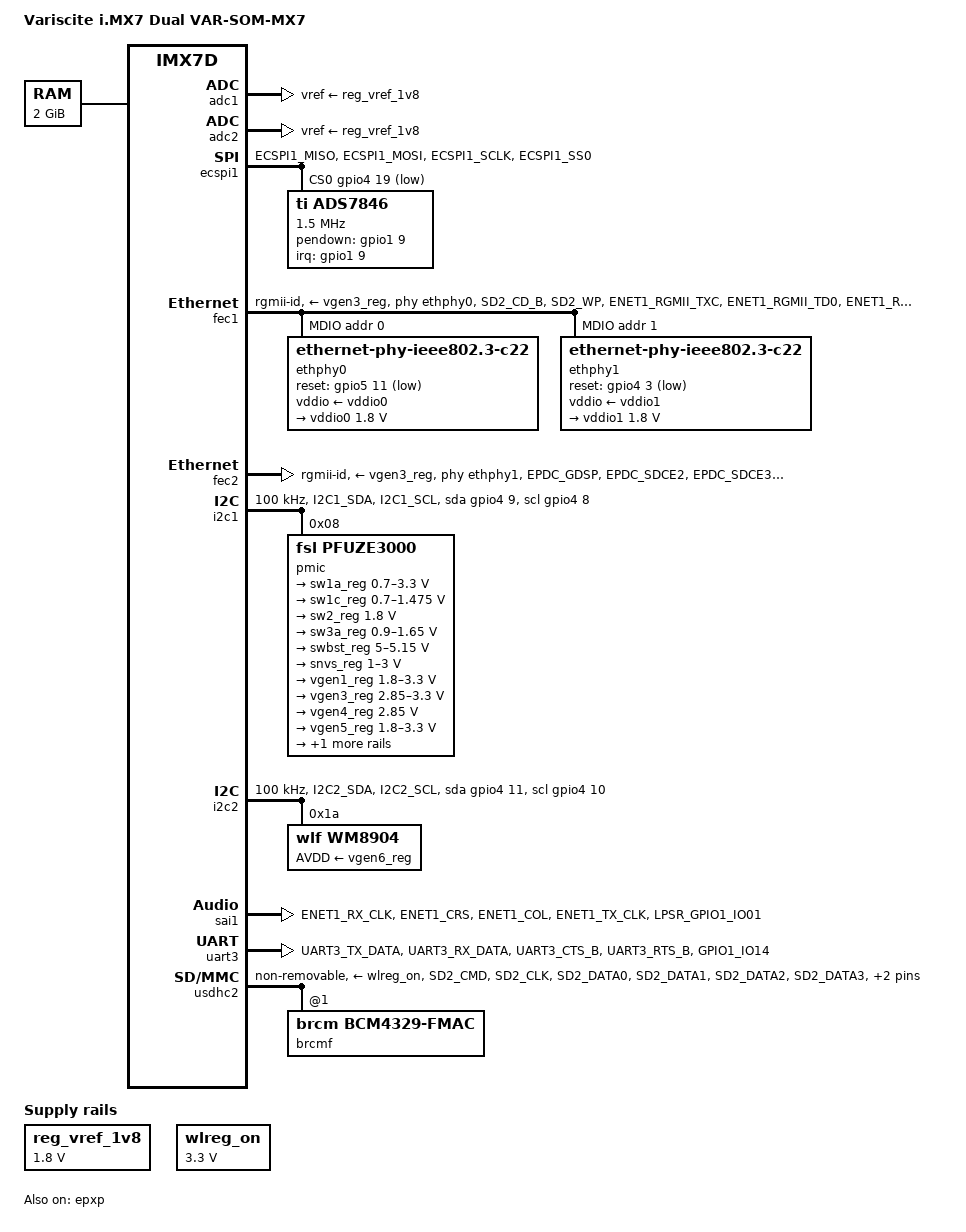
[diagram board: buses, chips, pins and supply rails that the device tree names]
// SPDX-License-Identifier: GPL-2.0+ OR MIT
//
// Copyright (C) 2016-2024 Variscite Ltd.

#include <dt-bindings/input/input.h>
#include "imx7d.dtsi"

/ {
	model = "Variscite i.MX7 Dual VAR-SOM-MX7";
	compatible = "variscite,imx7-var-som", "fsl,imx7d";

	memory@80000000 {
		device_type = "memory";
		reg = <0x80000000 0x80000000>;
	};

	pxp_v4l2_out {
		compatible = "fsl,imx7d-pxp-v4l2", "fsl,imx6sx-pxp-v4l2", "fsl,imx6sl-pxp-v4l2";
		status = "okay";
	};

	sound {
		compatible = "simple-audio-card";
		simple-audio-card,name = "wm8904-audio";
		simple-audio-card,widgets =
			"Microphone", "Microphone Jack",
			"Headphone", "Headphone Jack",
			"Line", "Line In Jack";
		simple-audio-card,routing =
			"Headphone Jack", "HPOUTL",
			"Headphone Jack", "HPOUTR",
			"IN2L", "Line In Jack",
			"IN2R", "Line In Jack",
			"IN1L", "Microphone Jack",
			"IN1R", "Microphone Jack";
		simple-audio-card,mclk-fs = <256>;
		simple-audio-card,format = "i2s";
		simple-audio-card,bitclock-master = <&dailink_master>;
		simple-audio-card,frame-master = <&dailink_master>;
		assigned-clocks = <&clks IMX7D_AUDIO_MCLK_ROOT_SRC>,
				  <&clks IMX7D_AUDIO_MCLK_ROOT_DIV>;
		assigned-clock-parents = <&clks IMX7D_PLL_AUDIO_POST_DIV>;
		assigned-clock-rates = <0>, <12288000>;

		dailink_master: simple-audio-card,codec {
			sound-dai = <&wm8904>;
			system-clock-frequency = <12288000>;
		};

		simple-audio-card,cpu {
			sound-dai = <&sai1>;
		};
	};

	reg_vref_1v8: reg-vref-1v8 {
		compatible = "regulator-fixed";
		regulator-name = "vref-1v8";
		regulator-min-microvolt = <1800000>;
		regulator-max-microvolt = <1800000>;
	};

	wlreg_on: wlreg-on {
		compatible = "regulator-fixed";
		regulator-min-microvolt = <3300000>;
		regulator-max-microvolt = <3300000>;
		regulator-name = "wlreg_on";
	};
};

&adc1 {
	vref-supply = <&reg_vref_1v8>;
	status = "okay";
};

&adc2 {
	vref-supply = <&reg_vref_1v8>;
	status = "okay";
};

&cpu0 {
	cpu-supply = <&sw1a_reg>;
};

&cpu1 {
	cpu-supply = <&sw1a_reg>;
};

&clks {
	assigned-clocks = <&clks IMX7D_PLL_AUDIO_POST_DIV>;
	assigned-clock-rates = <884736000>;
};

&ecspi1 {
	fsl,spi-num-chipselects = <1>;
	pinctrl-names = "default", "sleep";
	pinctrl-0 = <&pinctrl_ecspi1>;
	pinctrl-1 = <&pinctrl_ecspi1_sleep>;
	cs-gpios = <&gpio4 19 GPIO_ACTIVE_LOW>;
	status = "okay";

	/* Touch */
	ads7846@0 {
		reg = <0>;
		compatible = "ti,ads7846";
		pinctrl-names ="default";
		pinctrl-0 = <&pinctrl_ads7846_pendown>;
		interrupt-parent = <&gpio1>;
		interrupts = <9 0>;
		spi-max-frequency = <1500000>;
		pendown-gpio = <&gpio1 9 0>;
		ti,x-min = /bits/ 16 <125>;
		ti,x-max = /bits/ 16 <4008>;
		ti,y-min = /bits/ 16 <282>;
		ti,y-max = /bits/ 16 <3864>;
		ti,x-plate-ohms = /bits/ 16 <180>;
		ti,pressure-max = /bits/ 16 <255>;
		ti,debounce-max = /bits/ 16 <10>;
		ti,debounce-tol = /bits/ 16 <3>;
		ti,debounce-rep = /bits/ 16 <1>;
		ti,settle-delay-usec = /bits/ 16 <150>;
		ti,keep-vref-on;
	};
};

&epxp {
	status = "okay";
};

&fec1 {
	pinctrl-names = "default","sleep";
	pinctrl-0 = <&pinctrl_enet1>, <&pinctrl_enet1_rst>, <&pinctrl_enet2_rst>;
	pinctrl-1 = <&pinctrl_enet1_sleep>, <&pinctrl_enet1_rst_sleep>, <&pinctrl_enet2_rst_sleep>;
	phy-supply=<&vgen3_reg>;
	assigned-clocks = <&clks IMX7D_ENET_PHY_REF_ROOT_SRC>,
			  <&clks IMX7D_ENET_AXI_ROOT_SRC>,
			  <&clks IMX7D_ENET1_TIME_ROOT_SRC>,
			  <&clks IMX7D_ENET1_TIME_ROOT_CLK>,
			  <&clks IMX7D_ENET_AXI_ROOT_CLK>;
	assigned-clock-parents = <&clks IMX7D_PLL_ENET_MAIN_25M_CLK>,
				 <&clks IMX7D_PLL_ENET_MAIN_250M_CLK>,
				 <&clks IMX7D_PLL_ENET_MAIN_100M_CLK>;
	assigned-clock-rates = <0>, <0>, <0>, <100000000>, <250000000>;
	phy-mode = "rgmii-id";
	phy-handle = <&ethphy0>;
	status = "okay";

	mdio {
		#address-cells = <1>;
		#size-cells = <0>;

		ethphy0: ethernet-phy@0 {
			compatible = "ethernet-phy-ieee802.3-c22";
			adi,phy-mode-override = "rgmii-rxid";
			reg = <0>;
			vddio-supply = <&vddio0>;
			reset-gpios = <&gpio5 11 GPIO_ACTIVE_LOW>;
			reset-assert-us = <20000>;
			reset-deassert-us = <80000>;

			vddio0: vddio-regulator {
				regulator-min-microvolt = <1800000>;
				regulator-max-microvolt = <1800000>;
			};
		};

		ethphy1: ethernet-phy@1 {
			compatible = "ethernet-phy-ieee802.3-c22";
			adi,phy-mode-override = "rgmii-rxid";
			reg = <1>;
			vddio-supply = <&vddio1>;
			reset-gpios = <&gpio4 3 GPIO_ACTIVE_LOW>;
			reset-assert-us = <20000>;
			reset-deassert-us = <80000>;

			vddio1: vddio-regulator {
				regulator-min-microvolt = <1800000>;
				regulator-max-microvolt = <1800000>;
			};
		};
	};
};

&fec2 {
	pinctrl-names = "default","sleep";
	pinctrl-0 = <&pinctrl_enet2>;
	pinctrl-1 = <&pinctrl_enet2_sleep>;
	phy-supply=<&vgen3_reg>;
	assigned-clocks = <&clks IMX7D_ENET_PHY_REF_ROOT_SRC>,
			  <&clks IMX7D_ENET_AXI_ROOT_SRC>,
			  <&clks IMX7D_ENET2_TIME_ROOT_SRC>,
			  <&clks IMX7D_ENET2_TIME_ROOT_CLK>,
			  <&clks IMX7D_ENET_AXI_ROOT_CLK>;
	assigned-clock-parents = <&clks IMX7D_PLL_ENET_MAIN_25M_CLK>,
				 <&clks IMX7D_PLL_ENET_MAIN_250M_CLK>,
				 <&clks IMX7D_PLL_ENET_MAIN_100M_CLK>;
	assigned-clock-rates = <0>, <0>, <0>, <100000000>, <250000000>;
	phy-mode = "rgmii-id";
	phy-handle = <&ethphy1>;
	status = "okay";
};

&i2c1 {
	clock-frequency = <100000>;
	pinctrl-names = "default", "gpio";
	pinctrl-0 = <&pinctrl_i2c1>;
	pinctrl-1 = <&pinctrl_i2c1_gpio>;
	scl-gpios = <&gpio4 8 GPIO_ACTIVE_HIGH>;
	sda-gpios = <&gpio4 9 GPIO_ACTIVE_HIGH>;
	status = "okay";

	pmic: pfuze3000@8 {
		compatible = "fsl,pfuze3000";
		reg = <0x08>;

		regulators {
			sw1a_reg: sw1a {
				regulator-min-microvolt = <700000>;
				regulator-max-microvolt = <3300000>;
				regulator-boot-on;
				regulator-always-on;
				regulator-ramp-delay = <6250>;
			};

			/* use sw1c_reg to align with pfuze100/pfuze200 */
			sw1c_reg: sw1b {
				regulator-min-microvolt = <700000>;
				regulator-max-microvolt = <1475000>;
				regulator-boot-on;
				regulator-always-on;
				regulator-ramp-delay = <6250>;
			};

			sw2_reg: sw2 {
				regulator-min-microvolt = <1800000>;
				regulator-max-microvolt = <1800000>;
				regulator-boot-on;
				regulator-always-on;
			};

			sw3a_reg: sw3 {
				regulator-min-microvolt = <900000>;
				regulator-max-microvolt = <1650000>;
				regulator-boot-on;
				regulator-always-on;
			};

			swbst_reg: swbst {
				regulator-min-microvolt = <5000000>;
				regulator-max-microvolt = <5150000>;
			};

			snvs_reg: vsnvs {
				regulator-min-microvolt = <1000000>;
				regulator-max-microvolt = <3000000>;
				regulator-boot-on;
				regulator-always-on;
			};

			vref_reg: vrefddr {
				regulator-boot-on;
				regulator-always-on;
			};

			vgen1_reg: vldo1 {
				regulator-min-microvolt = <1800000>;
				regulator-max-microvolt = <3300000>;
				regulator-always-on;
			};

			vgen2_reg: vldo2 {
				status = "disabled";
			};

			vgen3_reg: vccsd {
				regulator-min-microvolt = <2850000>;
				regulator-max-microvolt = <3300000>;
				regulator-boot-on;

				regulator-state-mem {
					regulator-off-in-suspend;
				};
			};

			vgen4_reg: v33 {
				regulator-min-microvolt = <2850000>;
				regulator-max-microvolt = <2850000>;
				regulator-always-on;
			};

			vgen5_reg: vldo3 {
				regulator-min-microvolt = <1800000>;
				regulator-max-microvolt = <3300000>;
				regulator-always-on;
			};

			vgen6_reg: vldo4 {
				regulator-min-microvolt = <1800000>;
				regulator-max-microvolt = <3300000>;
				regulator-always-on;
			};
		};
	};
};

&i2c2 {
	clock-frequency = <100000>;
	pinctrl-names = "default", "gpio";
	pinctrl-0 = <&pinctrl_i2c2>;
	pinctrl-1 = <&pinctrl_i2c2_gpio>;
	scl-gpios = <&gpio4 10 GPIO_ACTIVE_HIGH>;
	sda-gpios = <&gpio4 11 GPIO_ACTIVE_HIGH>;
	status = "okay";

	wm8904: audio-codec@1a {
		#sound-dai-cells = <0>;
		AVDD-supply = <&vgen6_reg>;
		compatible = "wlf,wm8904";
		reg = <0x1a>;
		clocks = <&clks IMX7D_AUDIO_MCLK_ROOT_DIV>;
		clock-names = "mclk";
		num-drc-cfgs = <5>;
		drc-cfg-names = "default", "peaklimiter", "tradition", "soft", "music";
		drc-cfg-regs =
				/* coded default: KNEE_IP = KNEE_OP = 0, HI_COMP = LO_COMP = 1  */
				<0x01af 0x3248 0x0000 0x0000>,
				/* coded default: KNEE_IP = -24, KNEE_OP = -6, HI_COMP = 1/4, LO_COMP = 1 */
				<0x04af 0x324b 0x0010 0x0408>,
				/* coded default: KNEE_IP = -42, KNEE_OP = -3, HI_COMP = 0, LO_COMP = 1 */
				<0x04af 0x324b 0x0028 0x0704>,
				/* coded default: KNEE_IP = -45, KNEE_OP = -9, HI_COMP = 1/8, LO_COMP = 1 */
				<0x04af 0x324b 0x0018 0x078c>,
				/* coded default: KNEE_IP = -30, KNEE_OP = -10.5, HI_COMP = 1/4, LO_COMP = 1 */
				<0x04af 0x324b 0x0010 0x050e>;
		gpio-cfg = <
			0x0018 /* GPIO1 => DMIC_CLK */
			0xffff /* GPIO2 => don't touch */
			0xffff /* GPIO3 => don't touch */
			0xffff /* GPIO4 => don't touch */
		>;
		status = "okay";
	};
};

&reg_1p0d {
	vin-supply = <&sw2_reg>;
};

&reg_1p2 {
	vin-supply = <&sw2_reg>;
};

&sai1 {
	pinctrl-names = "default", "sleep";
	pinctrl-0 = <&pinctrl_sai1 &pinctrl_sai1_mclk>;
	pinctrl-1 = <&pinctrl_sai1_sleep &pinctrl_sai1_mclk_sleep>;
	assigned-clocks = <&clks IMX7D_SAI1_ROOT_SRC>,
			  <&clks IMX7D_SAI1_ROOT_CLK>;
	assigned-clock-parents = <&clks IMX7D_PLL_AUDIO_POST_DIV>;
	assigned-clock-rates = <0>, <12288000>;
	fsl,sai-mclk-direction-output;
	status = "okay";
};

&sdma {
	status = "okay";
};

/* BT */
&uart3 {
	pinctrl-names = "default";
	pinctrl-0 = <&pinctrl_uart3>, <&pinctrl_bt>;
	assigned-clocks = <&clks IMX7D_UART3_ROOT_SRC>;
	assigned-clock-parents = <&clks IMX7D_PLL_SYS_MAIN_240M_CLK>;
	uart-has-rtscts;
	status = "okay";
};

/* WiFi */
&usdhc2 {
	#address-cells = <1>;
	#size-cells = <0>;
	pinctrl-names = "default", "state_100mhz", "state_200mhz","sleep";
	pinctrl-0 = <&pinctrl_usdhc2>, <&pinctrl_wlan>;
	pinctrl-1 = <&pinctrl_usdhc2_100mhz>, <&pinctrl_wlan>;
	pinctrl-2 = <&pinctrl_usdhc2_200mhz>, <&pinctrl_wlan>;
	pinctrl-3 = <&pinctrl_usdhc2_sleep>, <&pinctrl_wlan_sleep>;
	keep-power-in-suspend;
	non-removable;
	pm-ignore-notify;
	vmmc-supply = <&wlreg_on>;
	status = "okay";

	brcmf: bcrmf@1 {
		reg = <1>;
		compatible = "brcm,bcm4329-fmac";
	};
};

&iomuxc {
	pinctrl_bt: btgrp {
		fsl,pins = <
			MX7D_PAD_GPIO1_IO14__GPIO1_IO14		0x80000000  /* bt reg on */
		>;
	};

	pinctrl_ecspi1: ecspi1grp {
		fsl,pins = <
			MX7D_PAD_ECSPI1_MISO__ECSPI1_MISO	0x2
			MX7D_PAD_ECSPI1_MOSI__ECSPI1_MOSI	0x2
			MX7D_PAD_ECSPI1_SCLK__ECSPI1_SCLK	0x2
			MX7D_PAD_ECSPI1_SS0__GPIO4_IO19		0x2
		>;
	};

	pinctrl_ecspi1_sleep: ecspi1grp_sleep {
		fsl,pins = <
			MX7D_PAD_ECSPI1_MISO__GPIO4_IO18	0x10
			MX7D_PAD_ECSPI1_MOSI__GPIO4_IO17	0x10
			MX7D_PAD_ECSPI1_SCLK__GPIO4_IO16	0x10
			MX7D_PAD_ECSPI1_SS0__DISABLED		0x10
		>;
	};

	pinctrl_enet1: enet1grp {
		fsl,pins = <
			MX7D_PAD_SD2_CD_B__ENET1_MDIO			0x3
			MX7D_PAD_SD2_WP__ENET1_MDC			0x3
			MX7D_PAD_ENET1_RGMII_TXC__ENET1_RGMII_TXC	0x1
			MX7D_PAD_ENET1_RGMII_TD0__ENET1_RGMII_TD0	0x1
			MX7D_PAD_ENET1_RGMII_TD1__ENET1_RGMII_TD1	0x1
			MX7D_PAD_ENET1_RGMII_TD2__ENET1_RGMII_TD2	0x1
			MX7D_PAD_ENET1_RGMII_TD3__ENET1_RGMII_TD3	0x1
			MX7D_PAD_ENET1_RGMII_TX_CTL__ENET1_RGMII_TX_CTL	0x1
			MX7D_PAD_ENET1_RGMII_RXC__ENET1_RGMII_RXC	0x1
			MX7D_PAD_ENET1_RGMII_RD0__ENET1_RGMII_RD0	0x1
			MX7D_PAD_ENET1_RGMII_RD1__ENET1_RGMII_RD1	0x1
			MX7D_PAD_ENET1_RGMII_RD2__ENET1_RGMII_RD2	0x1
			MX7D_PAD_ENET1_RGMII_RD3__ENET1_RGMII_RD3	0x1
			MX7D_PAD_ENET1_RGMII_RX_CTL__ENET1_RGMII_RX_CTL	0x1
		>;
	};

	pinctrl_enet1_rst: enet1rstgrp {
		fsl,pins = <
			MX7D_PAD_SD2_RESET_B__GPIO5_IO11		0x59  /* ethphy0 reset */
		>;
	};

	pinctrl_enet1_sleep: enet1_sleep_grp {
		fsl,pins = <
			MX7D_PAD_SD2_CD_B__GPIO5_IO9			0x10
			MX7D_PAD_SD2_WP__GPIO5_IO10			0x10
			MX7D_PAD_ENET1_RGMII_TXC__GPIO7_IO11		0x10
			MX7D_PAD_ENET1_RGMII_TD0__GPIO7_IO6		0x10
			MX7D_PAD_ENET1_RGMII_TD1__GPIO7_IO7		0x10
			MX7D_PAD_ENET1_RGMII_TD2__GPIO7_IO8		0x10
			MX7D_PAD_ENET1_RGMII_TD3__GPIO7_IO9		0x10
			MX7D_PAD_ENET1_RGMII_TX_CTL__GPIO7_IO10		0x10
			MX7D_PAD_ENET1_RGMII_RXC__GPIO7_IO5		0x10
			MX7D_PAD_ENET1_RGMII_RD0__GPIO7_IO0		0x10
			MX7D_PAD_ENET1_RGMII_RD1__GPIO7_IO1		0x10
			MX7D_PAD_ENET1_RGMII_RD2__GPIO7_IO2		0x10
			MX7D_PAD_ENET1_RGMII_RD3__GPIO7_IO3		0x10
			MX7D_PAD_ENET1_RGMII_RX_CTL__GPIO7_IO4		0x10
		>;
	};

	pinctrl_enet1_rst_sleep: enet1rstsleepgrp {
		fsl,pins = <
			MX7D_PAD_SD2_RESET_B__GPIO5_IO11		0x10  /* ethphy0 reset */
		>;
	};

	pinctrl_enet2: enet2grp {
		fsl,pins = <
			MX7D_PAD_EPDC_GDSP__ENET2_RGMII_TXC		0x1
			MX7D_PAD_EPDC_SDCE2__ENET2_RGMII_TD0		0x1
			MX7D_PAD_EPDC_SDCE3__ENET2_RGMII_TD1		0x1
			MX7D_PAD_EPDC_GDCLK__ENET2_RGMII_TD2		0x1
			MX7D_PAD_EPDC_GDOE__ENET2_RGMII_TD3		0x1
			MX7D_PAD_EPDC_GDRL__ENET2_RGMII_TX_CTL		0x1
			MX7D_PAD_EPDC_SDCE1__ENET2_RGMII_RXC		0x1
			MX7D_PAD_EPDC_SDCLK__ENET2_RGMII_RD0		0x1
			MX7D_PAD_EPDC_SDLE__ENET2_RGMII_RD1		0x1
			MX7D_PAD_EPDC_SDOE__ENET2_RGMII_RD2		0x1
			MX7D_PAD_EPDC_SDSHR__ENET2_RGMII_RD3		0x1
			MX7D_PAD_EPDC_SDCE0__ENET2_RGMII_RX_CTL		0x1
		>;
	};

	pinctrl_enet2_rst: enet2rstgrp {
		fsl,pins = <
			MX7D_PAD_UART2_TX_DATA__GPIO4_IO3		0x59  /* ethphy1 reset */
		>;
	};

	pinctrl_enet2_sleep: enet2_sleep_grp {
		fsl,pins = <
			MX7D_PAD_EPDC_GDSP__GPIO2_IO27			0x10
			MX7D_PAD_EPDC_SDCE2__GPIO2_IO22			0x10
			MX7D_PAD_EPDC_SDCE3__GPIO2_IO23			0x10
			MX7D_PAD_EPDC_GDCLK__GPIO2_IO24			0x10
			MX7D_PAD_EPDC_GDOE__GPIO2_IO25			0x10
			MX7D_PAD_EPDC_GDRL__GPIO2_IO26			0x10
			MX7D_PAD_EPDC_SDCE1__GPIO2_IO21			0x10
			MX7D_PAD_EPDC_SDCLK__GPIO2_IO16			0x10
			MX7D_PAD_EPDC_SDLE__GPIO2_IO17			0x10
			MX7D_PAD_EPDC_SDOE__GPIO2_IO18			0x10
			MX7D_PAD_EPDC_SDSHR__GPIO2_IO19			0x10
			MX7D_PAD_EPDC_SDCE0__GPIO2_IO20			0x10
		>;
	};

	pinctrl_enet2_rst_sleep: enet2rstsleepgrp {
		fsl,pins = <
			MX7D_PAD_UART2_TX_DATA__GPIO4_IO3		0x10  /* ethphy1 reset */
		>;
	};

	pinctrl_i2c1: i2c1grp {
		fsl,pins = <
			MX7D_PAD_I2C1_SDA__I2C1_SDA	0x4000007f
			MX7D_PAD_I2C1_SCL__I2C1_SCL	0x4000007f
		>;
	};

	pinctrl_i2c1_gpio: i2c1gpiogrp {
		fsl,pins = <
			MX7D_PAD_I2C1_SDA__GPIO4_IO9	0x4000007f
			MX7D_PAD_I2C1_SCL__GPIO4_IO8	0x4000007f
		>;
	};

	pinctrl_i2c2: i2c2grp {
		fsl,pins = <
			MX7D_PAD_I2C2_SDA__I2C2_SDA	0x4000007f
			MX7D_PAD_I2C2_SCL__I2C2_SCL	0x4000007f
		>;
	};

	pinctrl_i2c2_gpio: i2c2gpiogrp {
		fsl,pins = <
			MX7D_PAD_I2C2_SDA__GPIO4_IO11	0x4000007f
			MX7D_PAD_I2C2_SCL__GPIO4_IO10	0x4000007f
		>;
	};

	pinctrl_sai1: sai1grp {
		fsl,pins = <
			MX7D_PAD_ENET1_RX_CLK__SAI1_TX_BCLK	0x1f
			MX7D_PAD_ENET1_CRS__SAI1_TX_SYNC	0x1f
			MX7D_PAD_ENET1_COL__SAI1_TX_DATA0	0x30
			MX7D_PAD_ENET1_TX_CLK__SAI1_RX_DATA0	0x1f
		>;
	};

	pinctrl_sai1_sleep: sai1grp_sleep {
		fsl,pins = <
			MX7D_PAD_ENET1_RX_CLK__GPIO7_IO13	0x10
			MX7D_PAD_ENET1_CRS__GPIO7_IO14		0x10
			MX7D_PAD_ENET1_COL__GPIO7_IO15		0x10
			MX7D_PAD_ENET1_TX_CLK__GPIO7_IO12	0x10
		>;
	};

	pinctrl_ads7846_pendown: ads7846pendowngrp {
		fsl,pins = <
			MX7D_PAD_GPIO1_IO09__GPIO1_IO9		0x59
		>;
	};

	pinctrl_uart3: uart3grp {
		fsl,pins = <
			MX7D_PAD_UART3_TX_DATA__UART3_DCE_TX	0x79
			MX7D_PAD_UART3_RX_DATA__UART3_DCE_RX	0x79
			MX7D_PAD_UART3_CTS_B__UART3_DCE_CTS	0x79
			MX7D_PAD_UART3_RTS_B__UART3_DCE_RTS	0x79
		>;
	};

	pinctrl_usdhc2_sleep: usdhc2grp_sleep {
		fsl,pins = <
			MX7D_PAD_SD2_CMD__GPIO5_IO13		0x10
			MX7D_PAD_SD2_CLK__GPIO5_IO12		0x10
			MX7D_PAD_SD2_DATA0__GPIO5_IO14		0x10
			MX7D_PAD_SD2_DATA1__GPIO5_IO15		0x10
			MX7D_PAD_SD2_DATA2__GPIO5_IO16		0x10
			MX7D_PAD_SD2_DATA3__GPIO5_IO17		0x10
		>;
	};

	pinctrl_usdhc2: usdhc2grp {
		fsl,pins = <
			MX7D_PAD_SD2_CMD__SD2_CMD	0x59
			MX7D_PAD_SD2_CLK__SD2_CLK	0x19
			MX7D_PAD_SD2_DATA0__SD2_DATA0	0x59
			MX7D_PAD_SD2_DATA1__SD2_DATA1	0x59
			MX7D_PAD_SD2_DATA2__SD2_DATA2	0x59
			MX7D_PAD_SD2_DATA3__SD2_DATA3	0x59
		>;
	};

	pinctrl_usdhc2_100mhz: usdhc2grp_100mhz {
		fsl,pins = <
			MX7D_PAD_SD2_CMD__SD2_CMD	0x5a
			MX7D_PAD_SD2_CLK__SD2_CLK	0x1a
			MX7D_PAD_SD2_DATA0__SD2_DATA0	0x5a
			MX7D_PAD_SD2_DATA1__SD2_DATA1	0x5a
			MX7D_PAD_SD2_DATA2__SD2_DATA2	0x5a
			MX7D_PAD_SD2_DATA3__SD2_DATA3	0x5a
		>;
	};

	pinctrl_usdhc2_200mhz: usdhc2grp_200mhz {
		fsl,pins = <
			MX7D_PAD_SD2_CMD__SD2_CMD	0x5b
			MX7D_PAD_SD2_CLK__SD2_CLK	0x1b
			MX7D_PAD_SD2_DATA0__SD2_DATA0	0x5b
			MX7D_PAD_SD2_DATA1__SD2_DATA1	0x5b
			MX7D_PAD_SD2_DATA2__SD2_DATA2	0x5b
			MX7D_PAD_SD2_DATA3__SD2_DATA3	0x5b
		>;
	};
};

&iomuxc_lpsr {
	pinctrl_sai1_mclk: sai1grp_mclk {
		fsl,pins = <
			MX7D_PAD_LPSR_GPIO1_IO01__SAI1_MCLK		0x1f
		>;
	};

	pinctrl_sai1_mclk_sleep: sai1grp_mclk_sleep {
		fsl,pins = <
			MX7D_PAD_LPSR_GPIO1_IO01__GPIO1_IO1		0x10
		>;
	};

	pinctrl_wlan: wlangrp {
		fsl,pins = <
			MX7D_PAD_LPSR_GPIO1_IO04__GPIO1_IO4		0x09 /* WL_REG_ON */
			MX7D_PAD_LPSR_GPIO1_IO03__OSC32K_32K_OUT	0xb0 /* WIFI Slow clock */
		>;
	};

	pinctrl_wlan_sleep: wlangrp_sleep {
		fsl,pins = <
			MX7D_PAD_LPSR_GPIO1_IO04__GPIO1_IO4		0x10 /* WL_REG_ON */
			MX7D_PAD_LPSR_GPIO1_IO03__OSC32K_32K_OUT	0x10 /* WIFI Slow clock */
		>;
	};
};
